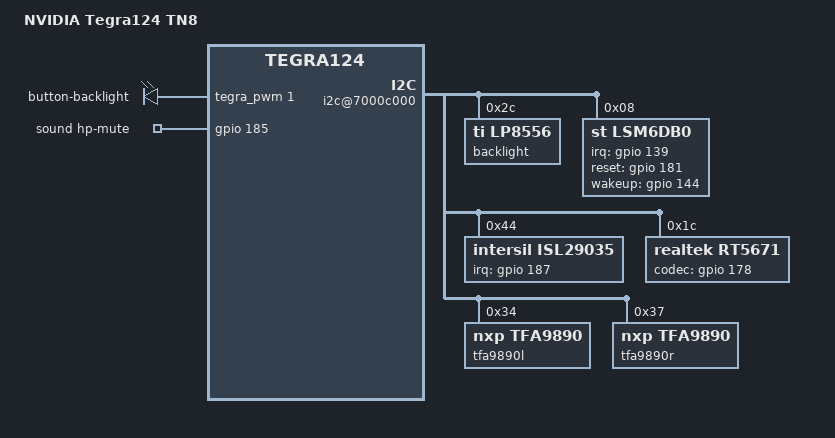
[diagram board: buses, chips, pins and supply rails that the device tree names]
/dts-v1/;

#include "tegra124-tn8.dtsi"
#include "tegra124-platforms/tegra124-tn8-emc-e1922-1100-a00.dtsi"
#include "tegra124-platforms/tegra124-tn8-pmic-e1736-1000-a00.dtsi"
#include "tegra124-platforms/tegra124-tn8-fixed-e1736-1000-a00.dtsi"

/* this is static dtsi files */
#include "tegra124-platforms/tegra124-mocha-gpio-e1780.dtsi"
#include "tegra124-platforms/tegra124-mocha-keys-e1780.dtsi"
#include "tegra124-platforms/tegra124-mocha-pinmux-e1780.dtsi"
/* end of static dtsi files */

#include "tegra124-platforms/tegra124-mocha-sysedp.dtsi"
#include "tegra124-platforms/tegra124-mocha-camera.dtsi"

/ {
	model = "NVIDIA Tegra124 TN8";
	compatible = "nvidia,mocha", "nvidia,tegra124";
	nvidia,dtsfilename = __FILE__;
	nvidia,boardids = "1780:1100:3:A:7","1845:1000:0:A:7";
	#address-cells = <2>;
	#size-cells = <2>;

	chosen {
		bootargs = "tegraid=40.0.0.00.00 vmalloc=256M video=tegrafb console=ttyS0,115200n8 earlyprintk";
		linux,initrd-start = <0x85000000>;
		linux,initrd-end = <0x851bc400>;
	};

	i2c@7000c700 {
		nvidia,clock-always-on;
		clock-frequency = <400000>;
	};

	i2c@7000c000 {
		backlight@2c {
			compatible = "ti,lp8556";
			reg = <0x2c>;

			dev-ctrl = /bits/ 8 <0x83>;
			init-brt = /bits/ 8 <0x1f>;
			led-en   = /bits/ 8 <0x0f>;

			rom_98h {
				rom-addr = /bits/ 8 <0x98>;
				rom-val = /bits/ 8 <0x80>;
			};
			rom_9eh {
				rom-addr = /bits/ 8 <0x9e>;
				rom-val = /bits/ 8 <0x21>;
			};
			rom_a0h {
				rom-addr = /bits/ 8 <0xa0>;
				rom-val = /bits/ 8 <0xff>;
			};
			rom_a1h {
				rom-addr = /bits/ 8 <0xa1>;
				rom-val = /bits/ 8 <0x3f>;
			};
			rom_a2h {
				rom-addr = /bits/ 8 <0xa2>;
				rom-val = /bits/ 8 <0x20>;
			};
			rom_a3h {
				rom-addr = /bits/ 8 <0xa3>;
				rom-val = /bits/ 8 <0x00>;
			};
			rom_a4h {
				rom-addr = /bits/ 8 <0xa4>;
				rom-val = /bits/ 8 <0x72>;
			};
			rom_a5h {
				rom-addr = /bits/ 8 <0xa5>;
				rom-val = /bits/ 8 <0x24>;
			};
			rom_a6h {
				rom-addr = /bits/ 8 <0xa6>;
				rom-val = /bits/ 8 <0x80>;
			};
			rom_a7h {
				rom-addr = /bits/ 8 <0xa7>;
				rom-val = /bits/ 8 <0xf5>;
			};
			rom_a8h {
				rom-addr = /bits/ 8 <0xa8>;
				rom-val = /bits/ 8 <0x24>;
			};
			rom_a9h {
				rom-addr = /bits/ 8 <0xa9>;
				rom-val = /bits/ 8 <0xb2>;
			};
			rom_aah {
				rom-addr = /bits/ 8 <0xaa>;
				rom-val = /bits/ 8 <0x8f>;
			};
			rom_aeh {
				rom-addr = /bits/ 8 <0xae>;
				rom-val = /bits/ 8 <0x0f>;
			};
		};

		lsm6db0@08 {
			compatible = "st,lsm6db0";
			reg = <0x08>;

			st,irq-gpio = <&gpio 139 0x00>;
			st,reset-gpio = <&gpio 181 0x00>;
			st,wakeup-gpio = <&gpio 144 0x00>;
		};

		isl29035@44 {
			compatible = "intersil,isl29035";
			reg = <0x44>;
			interrupt-parent = <&gpio>;
			interrupts = <187 0x08>;

			als_factor = <16>;
			als_highrange = <2>;
			als_lowthres = <0x0e00>;
			als_highthres = <0xf800>;
			als_sensitive = <25>;
		};

		rt5671: rt5671@1c {
			compatible = "realtek,rt5671";
			reg = <0x1c>;

	                realtek,jd_mode = <2>;
	                realtek,codec_gpio = <&gpio 178 0>;
	                realtek,in2_diff = <1>;
	                realtek,in3_diff = <0>;
	                realtek,in4_diff = <1>;
	                realtek,bclk_32fs = <0 1 1 1>;
		};

		tfa9890l: tfa98xx@34 {
			compatible = "nxp,tfa9890";
			reg = <0x34>;
		};

		tfa9890r: tfa98xx@37 {
			compatible = "nxp,tfa9890";
			reg = <0x37>;
		};
	};
	
	tegra_pwm: pwm@7000a000 {
		clocks = <&tegra_car 17>;
	};
	
	pwmleds {
		compatible = "pwm-leds";
		button_led {
			label = "button-backlight";
			pwms = <&tegra_pwm 1 10000>;
			max-brightness = <100>;
			max-duty = <50>;
		};
	};

	sound {
		compatible = "nvidia,tegra-audio-rt5671";
		nvidia,hp-mute-gpios = <&gpio 185 0>;
		nvidia,i2s-param-hifi = <0 0 2 16 2 48000>;
	};
};

